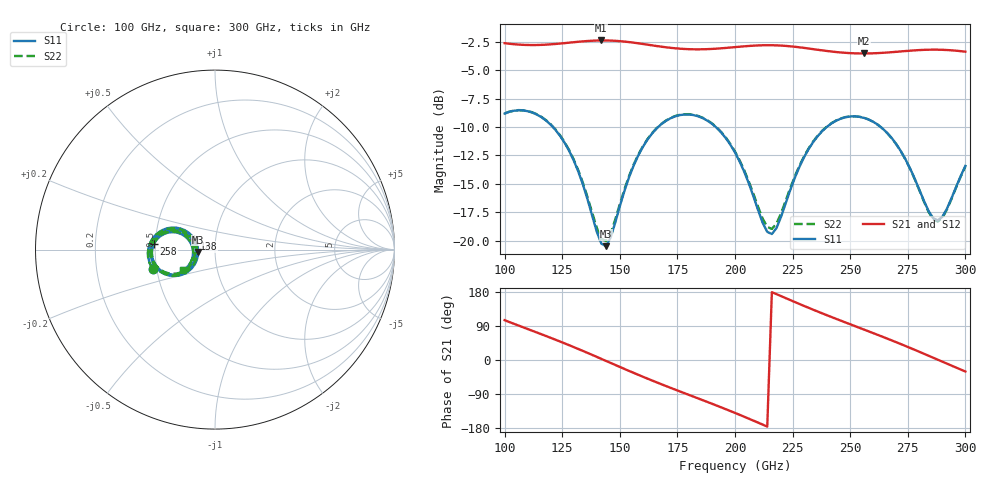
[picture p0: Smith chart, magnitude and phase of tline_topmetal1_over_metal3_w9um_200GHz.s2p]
#  GHZ S DB R 50
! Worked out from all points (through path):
!   101 points, 100 GHz to 300 GHz, reference 50 ohm
!   highest |S21| = -2.39 dB at 142 GHz (marker M1); lowest = -3.5 dB at 256 GHz (marker M2)
!   group delay of S21, straight-line fit = 6.88 ps
!   lowest |S11| = -20.5 dB at 144 GHz (marker M3), VSWR 1.21, Z = 41.4 - j1.06 ohm
!   |S11| at or under -10 dB: 120.9 GHz to 166.7 GHz (45.77 GHz wide, 31.8 % of centre); 191.6 GHz to 239.8 GHz (48.19 GHz wide, 22.3 % of centre); 263.2 GHz to end of sweep
!   |S22| runs from -20.0 to -8.5 dB; largest |S21 - S12| = 8.6e-14
!   S11 on the Smith chart (normalised r, x): 100 GHz: 0.48, -0.12; 138 GHz: 0.79, +0.09; 258 GHz: 0.49, +0.04; 300 GHz: 0.68, -0.17
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100  -8.82 -162.8  -2.63 105.0  -2.63 105.0  -8.81 -162.2
118  -9.43 165.2  -2.76 63.2  -2.76 63.2  -9.40 166.0
126  -11.37 152.9  -2.62 44.0  -2.62 44.0  -11.32 154.0
134  -15.06 147.2  -2.47 23.9  -2.47 23.9  -14.92 148.7
138  -17.79 152.8  -2.41 13.5  -2.41 13.5  -17.53 154.4
142  -20.26 172.7  -2.39 2.9  -2.39 2.9  -19.83 173.4
144  -20.48 -172.3  -2.39 -2.4  -2.39 -2.4  -20.03 -172.5
156  -13.39 -141.5  -2.58 -33.9  -2.58 -33.9  -13.31 -142.3
168  -9.76 -157.2  -2.94 -63.8  -2.94 -63.8  -9.73 -157.5
184  -9.06 176.0  -3.17 -101.4  -3.17 -101.4  -9.03 176.1
200  -12.24 153.3  -2.98 -139.7  -2.98 -139.7  -12.16 154.0
208  -16.10 153.2  -2.85 -160.0  -2.85 -160.0  -15.88 154.3
216  -19.41 -173.3  -2.81 179.1  -2.81 179.1  -18.96 -173.9
224  -15.53 -144.8  -2.90 158.1  -2.90 158.1  -15.36 -146.6
234  -11.31 -149.2  -3.15 132.6  -3.15 132.6  -11.26 -150.5
244  -9.43 -163.6  -3.41 108.4  -3.41 108.4  -9.41 -164.6
256  -9.20 177.6  -3.53 80.3  -3.53 80.3  -9.19 176.8
258  -9.34 174.6  -3.53 75.6  -3.53 75.6  -9.34 173.7
268  -10.97 160.8  -3.42 51.8  -3.42 51.8  -10.98 160.0
278  -14.54 155.9  -3.26 26.8  -3.26 26.8  -14.58 155.0
288  -18.21 -174.7  -3.20 0.8  -3.20 0.8  -18.31 -175.2
300  -13.43 -147.0  -3.38 -30.4  -3.38 -30.4  -13.46 -147.3
